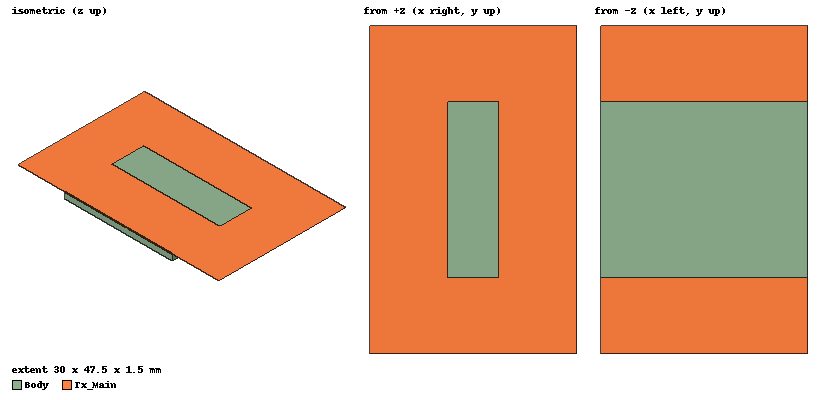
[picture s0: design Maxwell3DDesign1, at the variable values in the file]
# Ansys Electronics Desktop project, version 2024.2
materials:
  vacuum: permittivity=1
  copper: permeability=0.999991 conductivity=58000000
  FR4_epoxy: permittivity=4.4 dielectric_loss_tangent=0.02

design Maxwell3DDesign1 (Maxwell 3D, EddyCurrent, model units mm)
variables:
  X_Width = 30mm
  Y_Height = 25.5mm
  length_outer = 11mm
  length_leg = 7.5mm
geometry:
  x = box(corner=(0mm, 0mm, 0mm), size=(X_Width, Y_Height, 35um))
  Body [FR4_epoxy] = box(corner=(0mm, 0mm, 0mm), size=(X_Width, Y_Height, -1.5mm+35um))
  Tx_Main [copper] = box(corner=(0mm, 0mm, 0mm), size=(X_Width, Y_Height, 35um))
  Box5 = box(corner=((X_Width-length_leg)/2, 0mm, 0mm), size=(length_leg, Y_Height, 0.035mm))
  Tx_Main.subtract(Box5)
  x.move(0mm, length_outer, 0mm)
  Tx_Main1 = box(corner=(0mm, 0mm, 0mm), size=(X_Width, Y_Height, 35um))
  x.subtract(Tx_Main1)
  x_1 = x.duplicate_mirror(point=(X_Width/2, Y_Height /2, 0mm), normal=(0mm, -1mm, 0mm))
  Tx_Main.unite(x, x_1)
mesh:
  initial mesh: GlobalCurvilinear{Apply}
